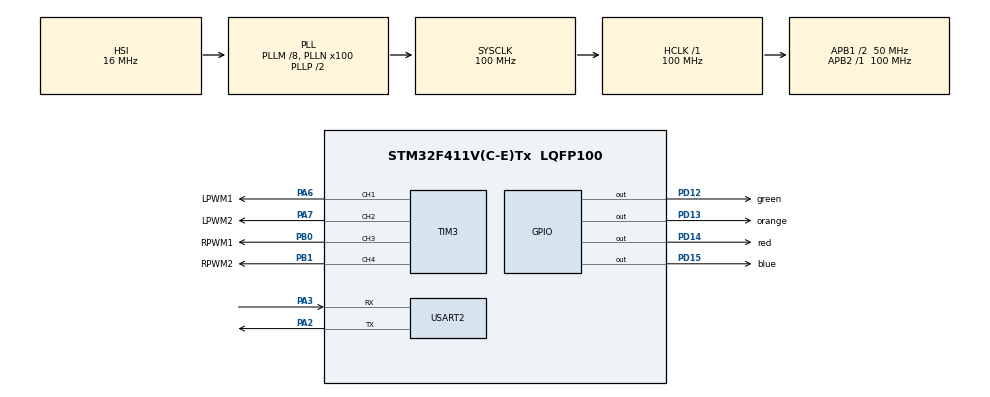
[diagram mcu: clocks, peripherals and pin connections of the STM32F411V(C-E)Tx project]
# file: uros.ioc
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Dma.Request0=USART2_RX
Dma.Request1=USART2_TX
Dma.USART2_RX.0.Direction=DMA_PERIPH_TO_MEMORY
Dma.USART2_RX.0.FIFOMode=DMA_FIFOMODE_DISABLE
Dma.USART2_RX.0.Instance=DMA1_Stream5
Dma.USART2_RX.0.MemDataAlignment=DMA_MDATAALIGN_BYTE
Dma.USART2_RX.0.MemInc=DMA_MINC_ENABLE
Dma.USART2_RX.0.Mode=DMA_CIRCULAR
Dma.USART2_RX.0.PeriphDataAlignment=DMA_PDATAALIGN_BYTE
Dma.USART2_RX.0.PeriphInc=DMA_PINC_DISABLE
Dma.USART2_RX.0.Priority=DMA_PRIORITY_VERY_HIGH
Dma.USART2_TX.1.Direction=DMA_MEMORY_TO_PERIPH
Dma.USART2_TX.1.FIFOMode=DMA_FIFOMODE_DISABLE
Dma.USART2_TX.1.Instance=DMA1_Stream6
Dma.USART2_TX.1.MemDataAlignment=DMA_MDATAALIGN_BYTE
Dma.USART2_TX.1.MemInc=DMA_MINC_ENABLE
Dma.USART2_TX.1.Mode=DMA_NORMAL
Dma.USART2_TX.1.PeriphDataAlignment=DMA_PDATAALIGN_BYTE
Dma.USART2_TX.1.PeriphInc=DMA_PINC_DISABLE
Dma.USART2_TX.1.Priority=DMA_PRIORITY_VERY_HIGH
FREERTOS.Tasks01=defaultTask,24,3000,StartDefaultTask,Default,NULL,Dynamic,NULL,NULL
Mcu.Family=STM32F4
Mcu.Name=STM32F411V(C-E)Tx
Mcu.Package=LQFP100
NVIC.DMA1_Stream5_IRQn=true\:5\:0\:false\:false\:true\:true\:false\:true\:true
NVIC.DMA1_Stream6_IRQn=true\:5\:0\:false\:false\:true\:true\:false\:true\:true
NVIC.PriorityGroup=NVIC_PRIORITYGROUP_4
NVIC.USART2_IRQn=true\:5\:0\:false\:false\:true\:true\:true\:true\:true
PA2.Mode=Asynchronous
PA2.Signal=USART2_TX
PA3.Mode=Asynchronous
PA3.Signal=USART2_RX
PA6.GPIO_Label=LPWM1
PA6.Signal=S_TIM3_CH1
PA7.GPIO_Label=LPWM2
PA7.Signal=S_TIM3_CH2
PB0.GPIO_Label=RPWM1
PB0.Signal=S_TIM3_CH3
PB1.GPIO_Label=RPWM2
PB1.Signal=S_TIM3_CH4
PD12.GPIO_Label=green
PD12.Signal=GPIO_Output
PD13.GPIO_Label=orange
PD13.Signal=GPIO_Output
PD14.GPIO_Label=red
PD14.Signal=GPIO_Output
PD15.GPIO_Label=blue
PD15.Signal=GPIO_Output
PH0\ -\ OSC_IN.Mode=HSE-External-Oscillator
PH0\ -\ OSC_IN.Signal=RCC_OSC_IN
PH1\ -\ OSC_OUT.Mode=HSE-External-Oscillator
PH1\ -\ OSC_OUT.Signal=RCC_OSC_OUT
ProjectManager.HeapSize=0x200
ProjectManager.StackSize=0x400
ProjectManager.TargetToolchain=STM32CubeIDE
RCC.48MHZClocksFreq_Value=25000000
RCC.AHBFreq_Value=100000000
RCC.APB1CLKDivider=RCC_HCLK_DIV2
RCC.APB1Freq_Value=50000000
RCC.APB1TimFreq_Value=100000000
RCC.APB2Freq_Value=100000000
RCC.APB2TimFreq_Value=100000000
RCC.CortexFreq_Value=100000000
RCC.HCLKFreq_Value=100000000
RCC.HSE_VALUE=8000000
RCC.HSI_VALUE=16000000
RCC.LSE_VALUE=32768
RCC.PLLI2SM=5
RCC.PLLI2SN=200
RCC.PLLM=8
RCC.PLLN=100
RCC.PLLQ=8
RCC.SYSCLKFreq_VALUE=100000000
RCC.SYSCLKSource=RCC_SYSCLKSOURCE_PLLCLK
RCC.VCOOutputFreq_Value=200000000
SH.S_TIM3_CH1.0=TIM3_CH1,PWM Generation1 CH1
SH.S_TIM3_CH2.0=TIM3_CH2,PWM Generation2 CH2
SH.S_TIM3_CH3.0=TIM3_CH3,PWM Generation3 CH3
SH.S_TIM3_CH4.0=TIM3_CH4,PWM Generation4 CH4
TIM3.Channel-PWM\ Generation1\ CH1=TIM_CHANNEL_1
TIM3.Channel-PWM\ Generation2\ CH2=TIM_CHANNEL_2
TIM3.Channel-PWM\ Generation3\ CH3=TIM_CHANNEL_3
TIM3.Channel-PWM\ Generation4\ CH4=TIM_CHANNEL_4
USART2.VirtualMode=VM_ASYNC
VP_FREERTOS_VS_CMSIS_V2.Mode=CMSIS_V2
board=STM32F411E-DISCO

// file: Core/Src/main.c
/* USER CODE BEGIN Header */
/**
  ******************************************************************************
  * @file           : main.c
  * @brief          : Main program body
  ******************************************************************************
  * @attention
  *
  * Copyright (c) 2024 STMicroelectronics.
  * All rights reserved.
  *
  * This software is licensed under terms that can be found in the LICENSE file
  * in the root directory of this software component.
  * If no LICENSE file comes with this software, it is provided AS-IS.
  *
  * Code written by Kamath Abhay Sunil for the ASTRA rover (USN: 1RV22EE021)
  * R.V. College of Engineering Banglore India
  ******************************************************************************
  */
/* USER CODE END Header */
#include "main.h"
#include "cmsis_os.h"

/* USER CODE BEGIN Includes */
#include <rcl/rcl.h>
#include <rcl/error_handling.h>
#include <rclc/rclc.h>
#include <rclc/executor.h>
#include <uxr/client/transport.h>
#include <rmw_microxrcedds_c/config.h>
#include <rmw_microros/rmw_microros.h>
#include <std_msgs/msg/string.h>
#include <std_msgs/msg/int32.h>

#include <std_msgs/msg/int16.h>
#include <stdio.h>
#include <string.h>
#include <geometry_msgs/msg/twist.h> //MAKE SURE TO INCLUDE THE MESSAGE TYPE WE WISH TO USE
/* USER CODE END Includes */

TIM_HandleTypeDef htim3;

UART_HandleTypeDef huart2;
DMA_HandleTypeDef hdma_usart2_rx;
DMA_HandleTypeDef hdma_usart2_tx;

/* Definitions for defaultTask */
osThreadId_t defaultTaskHandle;
const osThreadAttr_t defaultTask_attributes = {
  .name = "defaultTask",
  .stack_size = 3000 * 4,
  .priority = (osPriority_t) osPriorityNormal,
};
/* USER CODE BEGIN PV */

//Initialize private variables in this block

//static int32_t leftWheelEncoder = 0;
//static int32_t rightWheelEncoder = 0;

//declare the variables for wheel velocity as well as declare certain constants in this code block

double leftWheelVelocity;											//initialize the left wheel velocity variable this is in m/s
double rightWheelVelocity;											//initialize right wheel velocity variable in m/s

double leftWheelRPM;												//initializing the left wheel RPM
double rightWheelRPM;												//initializing the right wheel RPM

const double length = 0.225;					   					//this is the distance between the left and right wheels divided by two in meters
const double wheelRadius = 0.07;									//radius of the wheel
/* USER CODE END PV */

void SystemClock_Config(void);
static void MX_GPIO_Init(void);
static void MX_DMA_Init(void);
static void MX_USART2_UART_Init(void);
static void MX_TIM3_Init(void);
void StartDefaultTask(void *argument);

/* USER CODE BEGIN 0 */

//IN THIS BLOCK WE WRITE CALLBACKS FOR MICROROS

void cmd_vel_callback(const void*msgin)											//defining the cmd_vel callback
{
	geometry_msgs__msg__Twist * msg = (geometry_msgs__msg__Twist*)msgin;		//pointing the message type of /cmd_vel to msg

	leftWheelVelocity = msg->linear.x - msg->angular.z*length;					//defining the left wheel velocity using differential drive kinematics
	rightWheelVelocity = msg->linear.x + msg->angular.z*length;					//defining the right wheel velocity using differential drive kinematics

	leftWheelRPM = leftWheelVelocity*60/6.2831;                                /*left wheel velocity the unit is m/s so we multiply it by 60
																					and divide by 2pi to get rpm*/
	rightWheelRPM = rightWheelVelocity*60/6.2831;								//same as what we did for the left wheel

	//PWM2 Right motor PA6
	//PWM1 Right motor PA7
	//PWM2 Left motor PB1
	//PWM1 Left motor PB0

	if (leftWheelRPM >= 0 && leftWheelRPM <= 1000 && rightWheelRPM >= 0 && rightWheelRPM <= 1000){ //To move the bot front
		TIM3->CCR1 = leftWheelRPM;
		TIM3->CCR2 = 0;
		TIM3->CCR3 = rightWheelRPM;
		TIM3->CCR4 = 0;
	}
	else if (leftWheelRPM <= 0 && leftWheelRPM >= -1000 && rightWheelRPM <= 0 && rightWheelRPM >= -1000){ //To move the bot back
		TIM3->CCR1 = 0;
		TIM3->CCR2 = -leftWheelRPM;
		TIM3->CCR3 = 0;
		TIM3->CCR4 = -rightWheelRPM;
	}
	else if (leftWheelRPM >= 0 && leftWheelRPM <= 1000 && rightWheelRPM <= 0 && rightWheelRPM >= -1000){ //To move the bot left
		TIM3->CCR1 = 0;
		TIM3->CCR2 = -leftWheelRPM;
		TIM3->CCR3 = rightWheelRPM;
		TIM3->CCR4 = 0;
	}
	else if (leftWheelRPM <= 0 && leftWheelRPM >= -1000 && rightWheelRPM >= 0 && rightWheelRPM <= 1000){ //To move the bot right
		TIM3->CCR1 = leftWheelRPM;
		TIM3->CCR2 = 0;
		TIM3->CCR3 = 0;
		TIM3->CCR4 = -rightWheelRPM;
	}
	else{
		TIM3->CCR1 = 0;
		TIM3->CCR2 = 0;
		TIM3->CCR3 = 0;
		TIM3->CCR4 = 0;
	}

}
void HAL_GPIO_EXTI_Callback(uint16_t GPIO_Pin)
{
	if (GPIO_Pin == LCA_Pin){
		if (HAL_GPIO_ReadPin(LCB_GPIO_Port, LCB_Pin) == 1) leftWheelEncoder++;
		else if (HAL_GPIO_ReadPin(LCB_GPIO_Port, LCB_Pin) == 0) leftWheelEncoder--;
	}
	else if (GPIO_Pin == RCA_Pin){
		if (HAL_GPIO_ReadPin(RCB_GPIO_Port, RCB_Pin) == 1) rightWheelEncoder++;
		else if (HAL_GPIO_ReadPin(RCB_GPIO_Port, RCB_Pin) == 0) rightWheelEncoder--;
	}
}

/* USER CODE END 0 */

int main(void)
{

  /* MCU Configuration--------------------------------------------------------*/

  /* Reset of all peripherals, Initializes the Flash interface and the Systick. */
  HAL_Init();

  /* Configure the system clock */
  SystemClock_Config();

  /* Initialize all configured peripherals */
  MX_GPIO_Init();
  MX_DMA_Init();
  MX_USART2_UART_Init();
  MX_TIM3_Init();
  /* USER CODE BEGIN 2 */
  HAL_TIM_PWM_Start(&htim3, TIM_CHANNEL_1);
  HAL_TIM_PWM_Start(&htim3, TIM_CHANNEL_2);
  HAL_TIM_PWM_Start(&htim3, TIM_CHANNEL_3);
  HAL_TIM_PWM_Start(&htim3, TIM_CHANNEL_4);
  /* USER CODE END 2 */

  /* Init scheduler */
  osKernelInitialize();

  /* Create the thread(s) */
  /* creation of defaultTask */
  defaultTaskHandle = osThreadNew(StartDefaultTask, NULL, &defaultTask_attributes);

  /* Start scheduler */
  osKernelStart();

  /* We should never get here as control is now taken by the scheduler */

  /* Infinite loop */
  while (1)
  {

  }
}

void SystemClock_Config(void)
{
  RCC_OscInitTypeDef RCC_OscInitStruct = {0};
  RCC_ClkInitTypeDef RCC_ClkInitStruct = {0};

  /** Configure the main internal regulator output voltage
  */
  __HAL_RCC_PWR_CLK_ENABLE();
  __HAL_PWR_VOLTAGESCALING_CONFIG(PWR_REGULATOR_VOLTAGE_SCALE1);

  /** Initializes the RCC Oscillators according to the specified parameters
  * in the RCC_OscInitTypeDef structure.
  */
  RCC_OscInitStruct.OscillatorType = RCC_OSCILLATORTYPE_HSI;
  RCC_OscInitStruct.HSIState = RCC_HSI_ON;
  RCC_OscInitStruct.HSICalibrationValue = RCC_HSICALIBRATION_DEFAULT;
  RCC_OscInitStruct.PLL.PLLState = RCC_PLL_ON;
  RCC_OscInitStruct.PLL.PLLSource = RCC_PLLSOURCE_HSI;
  RCC_OscInitStruct.PLL.PLLM = 8;
  RCC_OscInitStruct.PLL.PLLN = 100;
  RCC_OscInitStruct.PLL.PLLP = RCC_PLLP_DIV2;
  RCC_OscInitStruct.PLL.PLLQ = 8;
  if (HAL_RCC_OscConfig(&RCC_OscInitStruct) != HAL_OK)
  {
    Error_Handler();
  }

  /** Initializes the CPU, AHB and APB buses clocks
  */
  RCC_ClkInitStruct.ClockType = RCC_CLOCKTYPE_HCLK|RCC_CLOCKTYPE_SYSCLK
                              |RCC_CLOCKTYPE_PCLK1|RCC_CLOCKTYPE_PCLK2;
  RCC_ClkInitStruct.SYSCLKSource = RCC_SYSCLKSOURCE_PLLCLK;
  RCC_ClkInitStruct.AHBCLKDivider = RCC_SYSCLK_DIV1;
  RCC_ClkInitStruct.APB1CLKDivider = RCC_HCLK_DIV2;
  RCC_ClkInitStruct.APB2CLKDivider = RCC_HCLK_DIV1;

  if (HAL_RCC_ClockConfig(&RCC_ClkInitStruct, FLASH_LATENCY_3) != HAL_OK)
  {
    Error_Handler();
  }
}

static void MX_TIM3_Init(void)
{

  TIM_MasterConfigTypeDef sMasterConfig = {0};
  TIM_OC_InitTypeDef sConfigOC = {0};

  htim3.Instance = TIM3;
  htim3.Init.Prescaler = 0;
  htim3.Init.CounterMode = TIM_COUNTERMODE_UP;
  htim3.Init.Period = 65535;
  htim3.Init.ClockDivision = TIM_CLOCKDIVISION_DIV1;
  htim3.Init.AutoReloadPreload = TIM_AUTORELOAD_PRELOAD_DISABLE;
  if (HAL_TIM_PWM_Init(&htim3) != HAL_OK)
  {
    Error_Handler();
  }
  sMasterConfig.MasterOutputTrigger = TIM_TRGO_RESET;
  sMasterConfig.MasterSlaveMode = TIM_MASTERSLAVEMODE_DISABLE;
  if (HAL_TIMEx_MasterConfigSynchronization(&htim3, &sMasterConfig) != HAL_OK)
  {
    Error_Handler();
  }
  sConfigOC.OCMode = TIM_OCMODE_PWM1;
  sConfigOC.Pulse = 0;
  sConfigOC.OCPolarity = TIM_OCPOLARITY_HIGH;
  sConfigOC.OCFastMode = TIM_OCFAST_DISABLE;
  if (HAL_TIM_PWM_ConfigChannel(&htim3, &sConfigOC, TIM_CHANNEL_1) != HAL_OK)
  {
    Error_Handler();
  }
  if (HAL_TIM_PWM_ConfigChannel(&htim3, &sConfigOC, TIM_CHANNEL_2) != HAL_OK)
  {
    Error_Handler();
  }
  if (HAL_TIM_PWM_ConfigChannel(&htim3, &sConfigOC, TIM_CHANNEL_3) != HAL_OK)
  {
    Error_Handler();
  }
  if (HAL_TIM_PWM_ConfigChannel(&htim3, &sConfigOC, TIM_CHANNEL_4) != HAL_OK)
  {
    Error_Handler();
  }
  HAL_TIM_MspPostInit(&htim3);

}

static void MX_USART2_UART_Init(void)
{

  huart2.Instance = USART2;
  huart2.Init.BaudRate = 115200;
  huart2.Init.WordLength = UART_WORDLENGTH_8B;
  huart2.Init.StopBits = UART_STOPBITS_1;
  huart2.Init.Parity = UART_PARITY_NONE;
  huart2.Init.Mode = UART_MODE_TX_RX;
  huart2.Init.HwFlowCtl = UART_HWCONTROL_NONE;
  huart2.Init.OverSampling = UART_OVERSAMPLING_16;
  if (HAL_UART_Init(&huart2) != HAL_OK)
  {
    Error_Handler();
  }

}

static void MX_DMA_Init(void)
{

  /* DMA controller clock enable */
  __HAL_RCC_DMA1_CLK_ENABLE();

  /* DMA interrupt init */
  /* DMA1_Stream5_IRQn interrupt configuration */
  HAL_NVIC_SetPriority(DMA1_Stream5_IRQn, 5, 0);
  HAL_NVIC_EnableIRQ(DMA1_Stream5_IRQn);
  /* DMA1_Stream6_IRQn interrupt configuration */
  HAL_NVIC_SetPriority(DMA1_Stream6_IRQn, 5, 0);
  HAL_NVIC_EnableIRQ(DMA1_Stream6_IRQn);

}

static void MX_GPIO_Init(void)
{
  GPIO_InitTypeDef GPIO_InitStruct = {0};

  /* GPIO Ports Clock Enable */
  __HAL_RCC_GPIOH_CLK_ENABLE();
  __HAL_RCC_GPIOA_CLK_ENABLE();
  __HAL_RCC_GPIOB_CLK_ENABLE();
  __HAL_RCC_GPIOD_CLK_ENABLE();

  /*Configure GPIO pin Output Level */
  HAL_GPIO_WritePin(GPIOD, green_Pin|orange_Pin|red_Pin|blue_Pin, GPIO_PIN_RESET);

  /*Configure GPIO pins : green_Pin orange_Pin red_Pin blue_Pin */
  GPIO_InitStruct.Pin = green_Pin|orange_Pin|red_Pin|blue_Pin;
  GPIO_InitStruct.Mode = GPIO_MODE_OUTPUT_PP;
  GPIO_InitStruct.Pull = GPIO_NOPULL;
  GPIO_InitStruct.Speed = GPIO_SPEED_FREQ_LOW;
  HAL_GPIO_Init(GPIOD, &GPIO_InitStruct);

}

/* USER CODE BEGIN 4 */
bool cubemx_transport_open(struct uxrCustomTransport * transport);
bool cubemx_transport_close(struct uxrCustomTransport * transport);
size_t cubemx_transport_write(struct uxrCustomTransport* transport, const uint8_t * buf, size_t len, uint8_t * err);
size_t cubemx_transport_read(struct uxrCustomTransport* transport, uint8_t* buf, size_t len, int timeout, uint8_t* err);

void * microros_allocate(size_t size, void * state);
void microros_deallocate(void * pointer, void * state);
void * microros_reallocate(void * pointer, size_t size, void * state);
void * microros_zero_allocate(size_t number_of_elements, size_t size_of_element, void * state);
/* USER CODE END 4 */

void StartDefaultTask(void *argument)
{
  /* USER CODE BEGIN 5 */

	  // micro-ROS configuration

	  rmw_uros_set_custom_transport(
	    true,
	    (void *) &huart2,
	    cubemx_transport_open,
	    cubemx_transport_close,
	    cubemx_transport_write,
	    cubemx_transport_read);

	  rcl_allocator_t freeRTOS_allocator = rcutils_get_zero_initialized_allocator();
	  freeRTOS_allocator.allocate = microros_allocate;
	  freeRTOS_allocator.deallocate = microros_deallocate;
	  freeRTOS_allocator.reallocate = microros_reallocate;
	  freeRTOS_allocator.zero_allocate =  microros_zero_allocate;

	  if (!rcutils_set_default_allocator(&freeRTOS_allocator)) {
	      printf("Error on default allocators (line %d)\n", __LINE__);
	  }

	  // micro-ROS application

	  rcl_subscription_t subscriber_cmd_vel;
	  geometry_msgs__msg__Twist cmd_vel_msg;

	  //std_msgs__msg__String sub_str_msg;
	  //rcl_subscription_t subscriber_cmd_vel_status;
	  //geometry_msgs__msg__Twist cmd_vel_status_msg;
	  /*rcl_publisher_t publisher, publisher_string;
	  std_msgs__msg__Int32 msg;*/

	  rclc_support_t support;
	  rcl_allocator_t allocator;
	  rcl_node_t node;

	  allocator = rcl_get_default_allocator();

	  //create init_options
	  rclc_support_init(&support, 0, NULL, &allocator);

	  // create node
	  rclc_node_init_default(&node, "microROS", "", &support);

	  // create publisher

	  //create subscriber
	  rclc_subscription_init_default(
	    &subscriber_cmd_vel,
	    &node,
	    ROSIDL_GET_MSG_TYPE_SUPPORT(geometry_msgs, msg, Twist),
	    "cmd_vel");

	  //create executor
	  rclc_executor_t executor = rclc_executor_get_zero_initialized_executor();
	  rclc_executor_init(&executor, &support.context, 2, &allocator);
	  rclc_executor_add_subscription(&executor, &subscriber_cmd_vel, &cmd_vel_msg, &cmd_vel_callback, ON_NEW_DATA);

  /* USER CODE END 5 */
}

void Error_Handler(void)
{
  __disable_irq();
  while (1)
  {
  }
}
